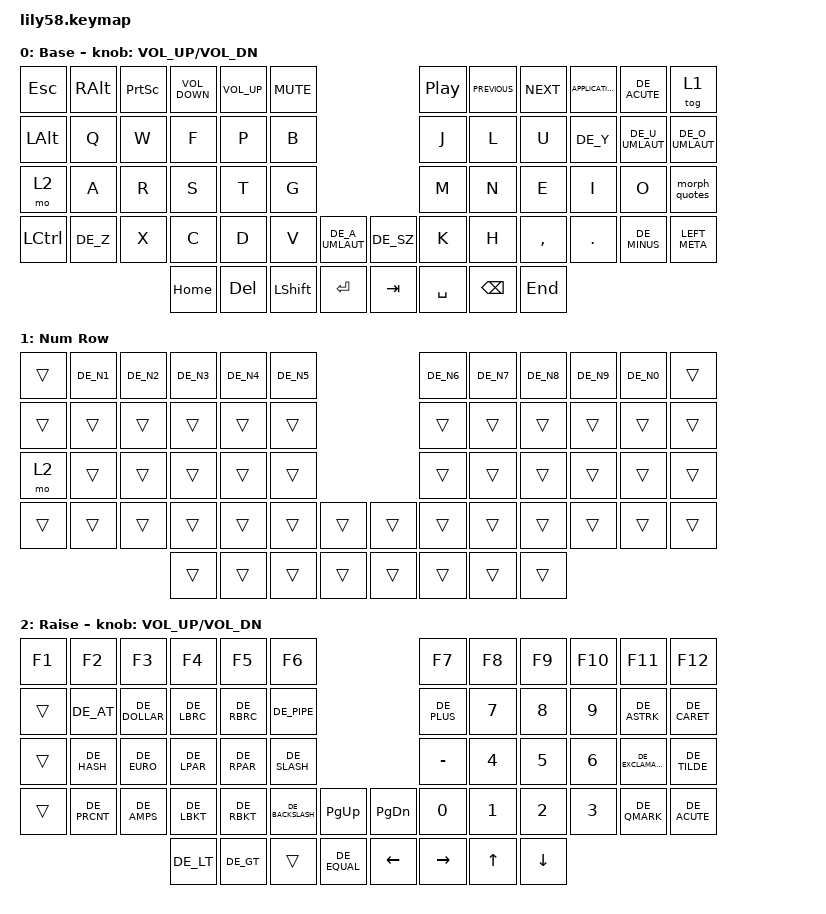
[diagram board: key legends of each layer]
/*
 * Copyright (c) 2020 The ZMK Contributors
 *
 * SPDX-License-Identifier: MIT
 */

#include "keys_de.h"
#include "keys_fr.h"
#include <behaviors.dtsi>
#include <dt-bindings/zmk/bt.h>
#include <dt-bindings/zmk/keys.h>

/ {
    behaviors {
        morph_quotes: morph_quotes {
            compatible = "zmk,behavior-mod-morph";
            label = "MORPH_QUOTES";
            bindings = <&kp DE_APOS>, <&kp DE_DOUBLE_QUOTES>;

            #binding-cells = <0>;
            mods = <(MOD_RSFT|MOD_LSFT)>;
        };
    };

    combos {
        compatible = "zmk,combos";

        combo_numlock {
            bindings = <&kp KP_NUMLOCK>;
            key-positions = <42 43>;
            layers = <0>;
        };

        combo_a_umlaut {
            bindings = <&kp DE_A_UMLAUT>;
            key-positions = <25 54>;
            layers = <0>;
        };

        combo_o_umlaut {
            bindings = <&kp DE_O_UMLAUT>;
            key-positions = <34 54>;
            layers = <0>;
        };

        combo_u_umlaut {
            bindings = <&kp DE_U_UMLAUT>;
            key-positions = <20 54>;
            layers = <0>;
        };

        combo_sharp_s {
            bindings = <&kp DE_SHARP_S>;
            key-positions = <27 54>;
        };

        combo_bt_nxt {
            bindings = <&bt BT_NXT>;
            key-positions = <36 12 1>;
        };

        combo_bt_clear {
            bindings = <&bt BT_CLR_ALL>;
            key-positions = <0 12 36>;
        };
    };

    keymap {
        compatible = "zmk,keymap";

        default_layer {
            // ------------------------------------------------------------------------------------------------------------
            // |  ESC  |  1  |  2  |  3   |  4   |  5   |                   |  6   |  7    |  8    |  9   |   0   |   `   |
            // |  TAB  |  Q  |  W  |  E   |  R   |  T   |                   |  Y   |  U    |  I    |  O   |   P   |   -   |
            // |  CTRL |  A  |  S  |  D   |  F   |  G   |                   |  H   |  J    |  K    |  L   |   ;   |   '   |
            // | SHIFT |  Z  |  X  |  C   |  V   |  B   |   "["  |  |  "]"  |  N   |  M    |  ,    |  .   |   /   | SHIFT |
            //                     | ALT  | GUI  | LOWER|  SPACE |  | ENTER | RAISE| BSPC  | GUI   |

            display-name = "Base";
            bindings = <
&kp ESC       &kp RIGHT_ALT  &kp PRINTSCREEN  &kp C_VOLUME_DOWN  &kp C_VOLUME_UP  &kp C_MUTE                                    &kp C_PLAY_PAUSE  &kp C_PREVIOUS  &kp C_NEXT  &kp K_APPLICATION  &kp DE_ACUTE     &tog 1
&kp LEFT_ALT  &kp Q          &kp W            &kp F              &kp P            &kp B                                         &kp J             &kp L           &kp U       &kp DE_Y           &kp DE_U_UMLAUT  &kp DE_O_UMLAUT
&mo 2         &kp A          &kp R            &kp S              &kp T            &kp G                                         &kp M             &kp N           &kp E       &kp I              &kp O            &morph_quotes
&kp LCTRL     &kp DE_Z       &kp X            &kp C              &kp D            &kp V           &kp DE_A_UMLAUT    &kp DE_SZ  &kp K             &kp H           &kp COMMA   &kp DOT            &kp DE_MINUS     &kp LEFT_META
                                              &kp HOME           &kp DELETE       &kp LEFT_SHIFT  &kp ENTER          &kp TAB    &kp SPACE         &kp BACKSPACE   &kp END
            >;

            sensor-bindings = <&inc_dec_kp C_VOL_UP C_VOL_DN>;
        };

        num_row {
            bindings = <
&trans  &kp DE_N1  &kp DE_N2  &kp DE_N3  &kp DE_N4  &kp DE_N5                    &kp DE_N6  &kp DE_N7  &kp DE_N8  &kp DE_N9  &kp DE_N0  &trans
&trans  &trans     &trans     &trans     &trans     &trans                       &trans     &trans     &trans     &trans     &trans     &trans
&mo 2   &trans     &trans     &trans     &trans     &trans                       &trans     &trans     &trans     &trans     &trans     &trans
&trans  &trans     &trans     &trans     &trans     &trans     &trans    &trans  &trans     &trans     &trans     &trans     &trans     &trans
                              &trans     &trans     &trans     &trans    &trans  &trans     &trans     &trans
            >;

            label = "Num Row";
        };

        raise_layer {
            // ------------------------------------------------------------------------------------------------------------
            // | BTCLR | BT1 | BT2 |  BT3 |  BT4 |  BT5 |                   |      |       |       |      |       |       |
            // |  F1   |  F2 |  F3 |  F4  |  F5  |  F6  |                   |  F7  |  F8   |  F9   |  F10 |  F11  |  F12  |
            // |   `   |  !  |  @  |  #   |  $   |  %   |                   |  ^   |  &    |  *    |  (   |   )   |   ~   |
            // |       |     |     |      |      |      |        |  |       |      |  _    |  +    |  {   |   }   |  "|"  |
            //                     |      |      |      |        |  |       |      |       |       |

            display-name = "Raise";
            bindings = <
&kp F1  &kp F2        &kp F3         &kp F4       &kp F5       &kp F6                                           &kp F7       &kp F8  &kp F9    &kp F10  &kp F11             &kp F12
&trans  &kp DE_AT     &kp DE_DOLLAR  &kp DE_LBRC  &kp DE_RBRC  &kp DE_PIPE                                      &kp DE_PLUS  &kp N7  &kp N8    &kp N9   &kp DE_ASTRK        &kp DE_CARET
&trans  &kp DE_HASH   &kp DE_EURO    &kp DE_LPAR  &kp DE_RPAR  &kp DE_SLASH                                     &kp MINUS    &kp N4  &kp N5    &kp N6   &kp DE_EXCLAMATION  &kp DE_TILDE
&trans  &kp DE_PRCNT  &kp DE_AMPS    &kp DE_LBKT  &kp DE_RBKT  &kp DE_BACKSLASH  &kp PAGE_UP     &kp PAGE_DOWN  &kp N0       &kp N1  &kp N2    &kp N3   &kp DE_QMARK        &kp DE_ACUTE
                                     &kp DE_LT    &kp DE_GT    &trans            &kp DE_EQUAL    &kp LEFT       &kp RIGHT    &kp UP  &kp DOWN
            >;

            sensor-bindings = <&inc_dec_kp C_VOL_UP C_VOL_DN>;
        };
    };
};
